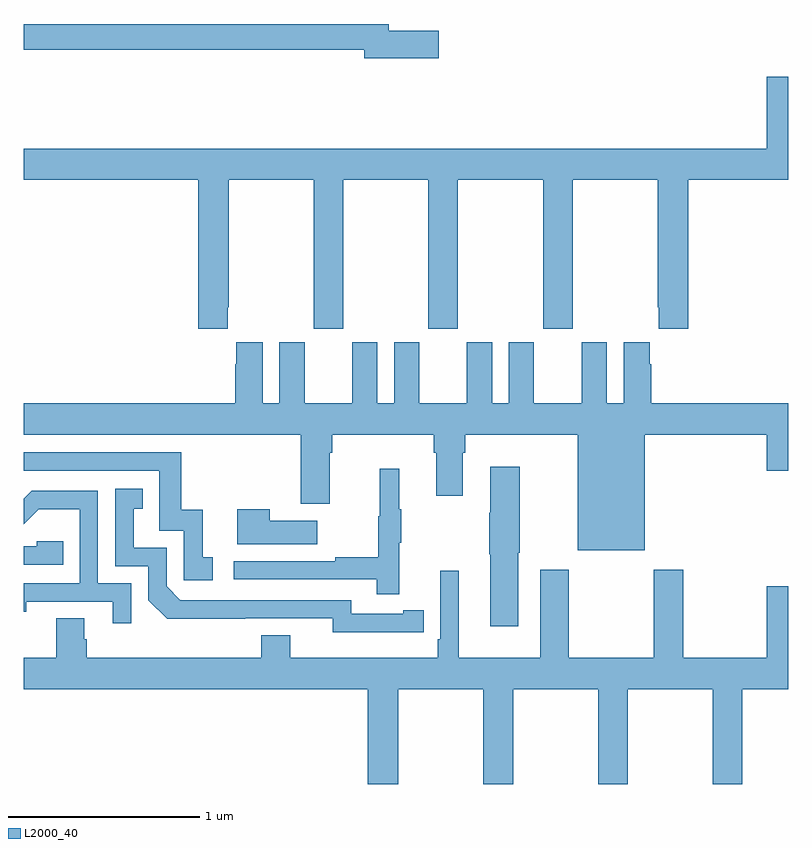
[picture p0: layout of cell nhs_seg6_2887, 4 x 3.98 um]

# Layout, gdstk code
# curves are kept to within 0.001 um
import gdstk
lib = gdstk.Library(unit=1e-6, precision=1e-09)
def P(c, l, *ps):  # polygons
    for p in ps: c.add(gdstk.Polygon(p, *l))
L2000_40 = (2000, 40)

nhs_seg6_2887 = lib.new_cell('nhs_seg6_2887')
P(nhs_seg6_2887, L2000_40, [(283.171,957.44),(282.91,957.44),(282.91,957.476),(281,957.476),(281,957.34),(282.782,957.34),(282.782,957.298),(283.171,957.298)],
  [(282.067,955.993),(282.072,955.993),(282.072,956.66),(282.517,956.66),(282.517,955.881),(282.672,955.881),(282.672,956.66),(283.117,956.66),(283.117,955.881),(283.272,955.881),(283.272,956.66),(283.717,956.66),(283.717,955.881),(283.872,955.881),(283.872,956.66),(284.317,956.66),(284.317,955.993),(284.321,955.993),(284.321,955.881),(284.477,955.881),(284.477,956.66),(285,956.66),(285,957.199),(284.888,957.199),(284.888,956.824),(281,956.824),(281,956.66),(281.912,956.66),(281.912,955.881),(282.067,955.881)],
  [(284.248,955.328),(284.888,955.328),(284.888,955.14),(285,955.14),(285,955.492),(284.282,955.492),(284.282,955.697),(284.275,955.697),(284.275,955.81),(284.138,955.81),(284.138,955.492),(284.05,955.492),(284.05,955.81),(283.919,955.81),(283.919,955.492),(283.669,955.492),(283.669,955.81),(283.538,955.81),(283.538,955.492),(283.45,955.492),(283.45,955.81),(283.319,955.81),(283.319,955.492),(283.069,955.492),(283.069,955.81),(282.938,955.81),(282.938,955.492),(282.85,955.492),(282.85,955.81),(282.719,955.81),(282.719,955.492),(282.469,955.492),(282.469,955.81),(282.338,955.81),(282.338,955.492),(282.25,955.492),(282.25,955.81),(282.113,955.81),(282.113,955.697),(282.107,955.697),(282.107,955.492),(281,955.492),(281,955.328),(282.449,955.328),(282.449,954.966),(282.601,954.966),(282.601,955.232),(282.614,955.232),(282.614,955.328),(283.145,955.328),(283.145,955.232),(283.157,955.232),(283.157,955.008),(283.297,955.008),(283.297,955.232),(283.31,955.232),(283.31,955.328),(283.898,955.328),(283.898,954.722),(284.248,954.722)],
  [(281.989,954.687),(281.936,954.687),(281.936,954.934),(281.825,954.934),(281.825,955.236),(281,955.236),(281,955.14),(281.709,955.14),(281.709,954.825),(281.838,954.825),(281.838,954.567),(281.989,954.567)],
  [(283.588,954.709),(283.596,954.709),(283.596,955.159),(283.442,955.159),(283.442,954.92),(283.435,954.92),(283.435,954.703),(283.442,954.703),(283.442,954.324),(283.588,954.324)],
  [(282.965,954.763),(282.976,954.763),(282.976,954.937),(282.965,954.937),(282.965,955.15),(282.862,955.15),(282.862,954.9),(282.855,954.9),(282.855,954.686),(282.631,954.686),(282.631,954.666),(282.099,954.666),(282.099,954.57),(282.847,954.57),(282.847,954.492),(282.965,954.492)],
  [(282.986,954.294),(283.094,954.294),(283.094,954.41),(282.986,954.41),(282.986,954.39),(282.714,954.39),(282.714,954.462),(281.82,954.462),(281.748,954.534),(281.748,954.735),(281.575,954.735),(281.575,954.939),(281.624,954.939),(281.624,955.045),(281.478,955.045),(281.478,954.639),(281.652,954.639),(281.652,954.462),(281.75,954.365),(282.618,954.366),(282.618,954.293)],
  [(281.562,954.549),(281.388,954.549),(281.388,955.035),(281.042,955.035),(281,954.993),(281,954.86),(281.078,954.938),(281.292,954.938),(281.292,954.549),(281,954.549),(281,954.402),(281.014,954.402),(281.014,954.453),(281.465,954.453),(281.465,954.342),(281.562,954.342)],
  [(282.535,954.877),(282.287,954.877),(282.287,954.937),(282.116,954.937),(282.116,954.755),(282.535,954.755)],
  [(281.207,954.771),(281.067,954.771),(281.067,954.744),(281,954.744),(281,954.648),(281.207,954.648)],
  [(282.96,953.996),(283.405,953.996),(283.405,953.5),(283.56,953.5),(283.56,953.996),(284.005,953.996),(284.005,953.5),(284.16,953.5),(284.16,953.996),(284.605,953.996),(284.605,953.5),(284.76,953.5),(284.76,953.996),(285,953.996),(285,954.535),(284.888,954.535),(284.888,954.16),(284.451,954.16),(284.451,954.622),(284.296,954.622),(284.296,954.16),(283.851,954.16),(283.851,954.622),(283.703,954.622),(283.703,954.16),(283.276,954.16),(283.276,954.616),(283.179,954.616),(283.179,954.256),(283.166,954.256),(283.166,954.16),(282.394,954.16),(282.394,954.277),(282.242,954.277),(282.242,954.16),(281.33,954.16),(281.33,954.258),(281.317,954.258),(281.317,954.368),(281.17,954.368),(281.17,954.16),(281,954.16),(281,953.996),(282.8,953.996),(282.8,953.5),(282.96,953.5)])

lib.write_gds('nhs_seg6_2887.gds')
